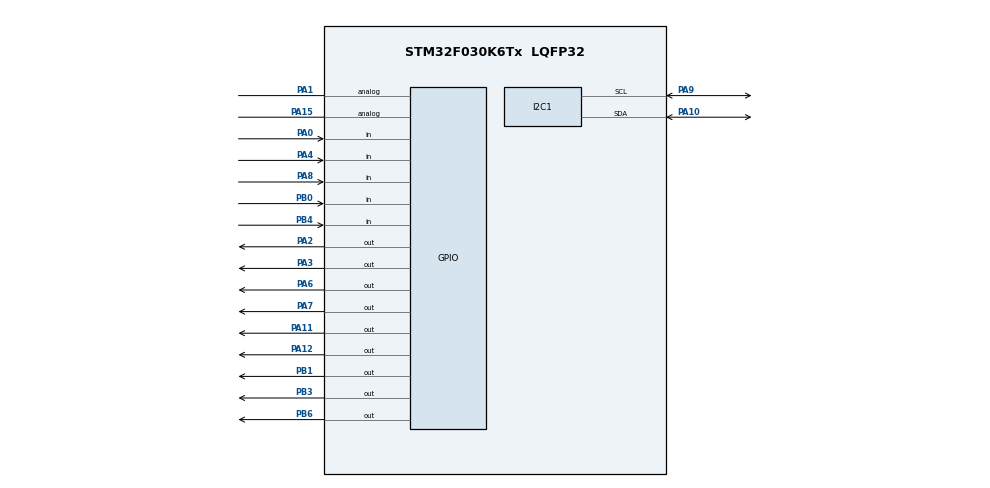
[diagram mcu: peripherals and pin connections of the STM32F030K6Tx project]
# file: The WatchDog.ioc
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Mcu.Family=STM32F0
Mcu.Name=STM32F030K6Tx
Mcu.Package=LQFP32
PA0.GPIO_PuPd=GPIO_PULLUP
PA0.Signal=GPIO_Input
PA1.Signal=GPIO_Analog
PA10.Mode=I2C
PA10.Signal=I2C1_SDA
PA11.Signal=GPIO_Output
PA12.Signal=GPIO_Output
PA13.Mode=Serial_Wire
PA13.Signal=SYS_SWDIO
PA14.Mode=Serial_Wire
PA14.Signal=SYS_SWCLK
PA15.Signal=GPIO_Analog
PA2.Signal=GPIO_Output
PA3.Signal=GPIO_Output
PA4.GPIO_PuPd=GPIO_PULLUP
PA4.Signal=GPIO_Input
PA6.Signal=GPIO_Output
PA7.Signal=GPIO_Output
PA8.GPIO_PuPd=GPIO_PULLUP
PA8.Signal=GPIO_Input
PA9.Mode=I2C
PA9.Signal=I2C1_SCL
PB0.GPIO_PuPd=GPIO_PULLUP
PB0.Signal=GPIO_Input
PB1.Signal=GPIO_Output
PB3.Signal=GPIO_Output
PB4.GPIO_PuPd=GPIO_PULLUP
PB4.Signal=GPIO_Input
PB6.Signal=GPIO_Output
ProjectManager.HeapSize=0x200
ProjectManager.StackSize=0x400
ProjectManager.TargetToolchain=STM32CubeIDE
board=custom

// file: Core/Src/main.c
/* USER CODE BEGIN Header */
/**
  ******************************************************************************
  * @file           : main.c
  * @brief          : Main program body
  ******************************************************************************
  *
  *
  ******************************************************************************
  */
/* USER CODE END Header */
#include "main.h"
#include "i2c.h"
#include "gpio.h"

/* USER CODE BEGIN Includes */
#include "lis3dh_reg.h"
#include <string.h>
#include <stdio.h>

#define SENSOR_BUS hi2c1

static int16_t data_raw_acceleration[3];
static int16_t data_raw_temperature;
static float acceleration_mg[3];
static float temperature_degC;
static uint8_t whoamI;
//static uint8_t tx_buffer[1000];

/** Please note that is MANDATORY: return 0 -> no Error.**/
int32_t platform_write(void *handle, uint8_t reg, const uint8_t *bufp, uint16_t len) {
	reg |= 0x80;
	HAL_I2C_Mem_Write(handle, 0x18<<1, reg, 1, (uint8_t*) bufp, len, 1000); //define 8bit
}

int32_t platform_read(void *handle, uint8_t reg, uint8_t *bufp, uint16_t len) {
	reg |= 0x80;
	int32_t ret = HAL_I2C_Mem_Read(handle, 0x18<<1, reg, 1, bufp, len, 1000);
	//HAL_I2C_Mem_Read(handle, 0x18, reg, 1, bufp, len, 1000);
	return ret;
}

/** Optional (may be required by driver) **/
void platform_delay(uint32_t millisec) {
	HAL_Delay(millisec);
}

void lis3dh_read_data_polling(void)
{
  /* Initialize mems driver interface */
  stmdev_ctx_t dev_ctx;
  dev_ctx.write_reg = platform_write;
  dev_ctx.read_reg = platform_read;
  dev_ctx.mdelay = platform_delay;
  dev_ctx.handle = &SENSOR_BUS;
  /* Wait boot time and initialize platform specific hardware */
  //platform_init();
  /* Wait sensor boot time */
  platform_delay(5);
  /* Check device ID */
  lis3dh_device_id_get(&dev_ctx, &whoamI);

  if (whoamI != LIS3DH_ID) {
    while (1) {
      /* manage here device not found */
    }
  }

  /* Enable Block Data Update. */
  lis3dh_block_data_update_set(&dev_ctx, PROPERTY_ENABLE);
  /* Set Output Data Rate to 1Hz. */
  lis3dh_data_rate_set(&dev_ctx, LIS3DH_ODR_1Hz);
  /* Set full scale to 2g. */
  lis3dh_full_scale_set(&dev_ctx, LIS3DH_2g);
  /* Enable temperature sensor. */
  lis3dh_aux_adc_set(&dev_ctx, LIS3DH_AUX_ON_TEMPERATURE);
  /* Set device in continuous mode with 12 bit resol. */
  lis3dh_operating_mode_set(&dev_ctx, LIS3DH_HR_12bit);

  /* Read samples in polling mode (no int) */
  while (1) {
    lis3dh_reg_t reg;
    /* Read output only if new value available */
    lis3dh_xl_data_ready_get(&dev_ctx, &reg.byte);

    if (reg.byte) {
      /* Read accelerometer data */
      memset(data_raw_acceleration, 0x00, 3 * sizeof(int16_t));
      lis3dh_acceleration_raw_get(&dev_ctx, data_raw_acceleration);
      acceleration_mg[0] =
        lis3dh_from_fs2_hr_to_mg(data_raw_acceleration[0]);
      acceleration_mg[1] =
        lis3dh_from_fs2_hr_to_mg(data_raw_acceleration[1]);
      acceleration_mg[2] =
        lis3dh_from_fs2_hr_to_mg(data_raw_acceleration[2]);
      //sprintf((char *)tx_buffer, "Acceleration [mg]:%4.2f\t%4.2f\t%4.2f\r\n", acceleration_mg[0], acceleration_mg[1], acceleration_mg[2]);
      //tx_com(tx_buffer, strlen((char const *)tx_buffer));
    }

    lis3dh_temp_data_ready_get(&dev_ctx, &reg.byte);

    if (reg.byte) {
      /* Read temperature data */
      memset(&data_raw_temperature, 0x00, sizeof(int16_t));
      lis3dh_temperature_raw_get(&dev_ctx, &data_raw_temperature);
      temperature_degC = lis3dh_from_lsb_hr_to_celsius(data_raw_temperature);
      //sprintf((char *)tx_buffer, "Temperature [degC]:%6.2f\r\n", temperature_degC);
      //tx_com(tx_buffer, strlen((char const *)tx_buffer));
    }
  }
}
/*
static void platform_init(void){
	#if defined(STEVAL_MKI109V3)
	  TIM3->CCR1 = PWM_3V3;
	  TIM3->CCR2 = PWM_3V3;
	  HAL_TIM_PWM_Start(&htim3, TIM_CHANNEL_1);
	  HAL_TIM_PWM_Start(&htim3, TIM_CHANNEL_2);
	  HAL_Delay(1000);
	#endif
}
*/
int debounce = 250;

int theCode(int N1, int N2, int N3, int N4) {
    // Check if the length of the string is equal to the integer
    if ((HAL_GPIO_ReadPin(GPIOA, GPIO_PIN_11) != N1) && (HAL_GPIO_ReadPin(GPIOB, GPIO_PIN_6) != N2)
    	&& (HAL_GPIO_ReadPin(GPIOA, GPIO_PIN_7) != N3) && (HAL_GPIO_ReadPin(GPIOA, GPIO_PIN_6) != N4)) {
        return 1;
    } else {
        return 0;
    }
}

void allState(int state) {
	  HAL_GPIO_WritePin(GPIOA, GPIO_PIN_2, state);
	  HAL_GPIO_WritePin(GPIOA, GPIO_PIN_6, state);
	  HAL_GPIO_WritePin(GPIOA, GPIO_PIN_7, state);
	  HAL_GPIO_WritePin(GPIOA, GPIO_PIN_11, state);
	  HAL_GPIO_WritePin(GPIOA, GPIO_PIN_12, state);
	  HAL_GPIO_WritePin(GPIOB, GPIO_PIN_1, state);
	  HAL_GPIO_WritePin(GPIOB, GPIO_PIN_6, state);
}

void twiScan(void) {
	  for (uint8_t i = 0; i < 128; i++) {
		  if (HAL_I2C_IsDeviceReady(&hi2c1, (uint16_t)(i<<1), 3, 5) == HAL_OK) {
			  // We got an ack
			  int address = i;
			  allState(0);
		  }
	  }

}

void buttonsNlights() {
	if (HAL_GPIO_ReadPin(GPIOA, GPIO_PIN_8) == 0)
	{
		HAL_GPIO_TogglePin(GPIOA, GPIO_PIN_11);
		HAL_Delay(debounce);
	}
	if (HAL_GPIO_ReadPin(GPIOB, GPIO_PIN_4) == 0)
	{
		HAL_GPIO_TogglePin(GPIOB, GPIO_PIN_6);
		HAL_Delay(debounce);
	}
	if (HAL_GPIO_ReadPin(GPIOB, GPIO_PIN_0) == 0)
	{
		HAL_GPIO_TogglePin(GPIOA, GPIO_PIN_7);
		HAL_Delay(debounce);
	}
	if (HAL_GPIO_ReadPin(GPIOA, GPIO_PIN_4) == 0)
	{
		HAL_GPIO_TogglePin(GPIOA, GPIO_PIN_6);
		HAL_Delay(debounce);
	}
}

void BeepX(float seconds, float beepNumPerSecond) {
	float j = seconds * beepNumPerSecond;
	float t = 1000 / beepNumPerSecond;
	float x = t/2.0;
	for (float i = 0; i <= j; i++){
		HAL_GPIO_WritePin(GPIOA, GPIO_PIN_3, 1);
		HAL_Delay(x);
		HAL_GPIO_WritePin(GPIOA, GPIO_PIN_3, 0);
		HAL_Delay(x);
	}
}

///////////////////////////////////////////////////////////////////

/* USER CODE END Includes */

void SystemClock_Config(void);

int main(void)
{

  /* MCU Configuration--------------------------------------------------------*/

  /* Reset of all peripherals, Initializes the Flash interface and the Systick. */
  HAL_Init();

  /* Configure the system clock */
  SystemClock_Config();

  /* Initialize all configured peripherals */
  MX_GPIO_Init();
  MX_I2C1_Init();
  /* USER CODE BEGIN 2 */
  allState(1);
  /* USER CODE END 2 */

  /* Infinite loop */
  /* USER CODE BEGIN WHILE */
  while (1)
  {
	  twiScan();
	  buttonsNlights();
	  if (HAL_GPIO_ReadPin(GPIOA, GPIO_PIN_0) == 0) // Assuming active low
	  {
		  if (theCode(1,0,1,0)) //button 1, button 2, button 3, button 4
		  {
			  int time = 1; // in seconds
			  int q = time * 5;
			  for (int i = 0 ; i <= q; i++)
			  {
				  HAL_GPIO_TogglePin(GPIOB, GPIO_PIN_1);
				  HAL_Delay(200);
			  }
			  allState(1);
		  }
			  else
			  {
				  allState(0);
				  HAL_Delay(100);
				  allState(1);
				  //BeepX(2,1);
				  //HAL_GPIO_WritePin(GPIOA, GPIO_PIN_3, 1);
				  //HAL_Delay(3);
				  //HAL_GPIO_WritePin(GPIOA, GPIO_PIN_3, 0);
				  lis3dh_read_data_polling();
				  int temperature_degC;
				  if (temperature_degC > 23) {
					  HAL_GPIO_TogglePin(GPIOA, GPIO_PIN_11);
					  HAL_Delay(500);
				  } else if (temperature_degC > 22) {
					  HAL_GPIO_TogglePin(GPIOB, GPIO_PIN_6);
					  HAL_Delay(500);
				  } else if (temperature_degC > 21) {
					  HAL_GPIO_TogglePin(GPIOA, GPIO_PIN_7);
					  HAL_Delay(500);
				  } else if (temperature_degC < 21) {
					  HAL_GPIO_TogglePin(GPIOA, GPIO_PIN_6);
					  HAL_Delay(500);
				  }
				  allState(1);
			  }
	  }
  }

//enter code
	  //code directs to mode    -    if not real code, go back to enter code
	  //mode waits for interrupt
	  //when interrupt -> wait 3 seconds -> alarm state
	  //gives 3 seconds before alarm state to enterCode();
	  //

    /* USER CODE END WHILE */

}

void SystemClock_Config(void)
{
  RCC_OscInitTypeDef RCC_OscInitStruct = {0};
  RCC_ClkInitTypeDef RCC_ClkInitStruct = {0};
  RCC_PeriphCLKInitTypeDef PeriphClkInit = {0};

  /** Initializes the RCC Oscillators according to the specified parameters
  * in the RCC_OscInitTypeDef structure.
  */
  RCC_OscInitStruct.OscillatorType = RCC_OSCILLATORTYPE_HSI;
  RCC_OscInitStruct.HSIState = RCC_HSI_ON;
  RCC_OscInitStruct.HSICalibrationValue = RCC_HSICALIBRATION_DEFAULT;
  RCC_OscInitStruct.PLL.PLLState = RCC_PLL_NONE;
  if (HAL_RCC_OscConfig(&RCC_OscInitStruct) != HAL_OK)
  {
    Error_Handler();
  }

  /** Initializes the CPU, AHB and APB buses clocks
  */
  RCC_ClkInitStruct.ClockType = RCC_CLOCKTYPE_HCLK|RCC_CLOCKTYPE_SYSCLK
                              |RCC_CLOCKTYPE_PCLK1;
  RCC_ClkInitStruct.SYSCLKSource = RCC_SYSCLKSOURCE_HSI;
  RCC_ClkInitStruct.AHBCLKDivider = RCC_SYSCLK_DIV1;
  RCC_ClkInitStruct.APB1CLKDivider = RCC_HCLK_DIV1;

  if (HAL_RCC_ClockConfig(&RCC_ClkInitStruct, FLASH_LATENCY_0) != HAL_OK)
  {
    Error_Handler();
  }
  PeriphClkInit.PeriphClockSelection = RCC_PERIPHCLK_I2C1;
  PeriphClkInit.I2c1ClockSelection = RCC_I2C1CLKSOURCE_HSI;
  if (HAL_RCCEx_PeriphCLKConfig(&PeriphClkInit) != HAL_OK)
  {
    Error_Handler();
  }
}

void Error_Handler(void)
{
  __disable_irq();
  while (1)
  {
  }
}
